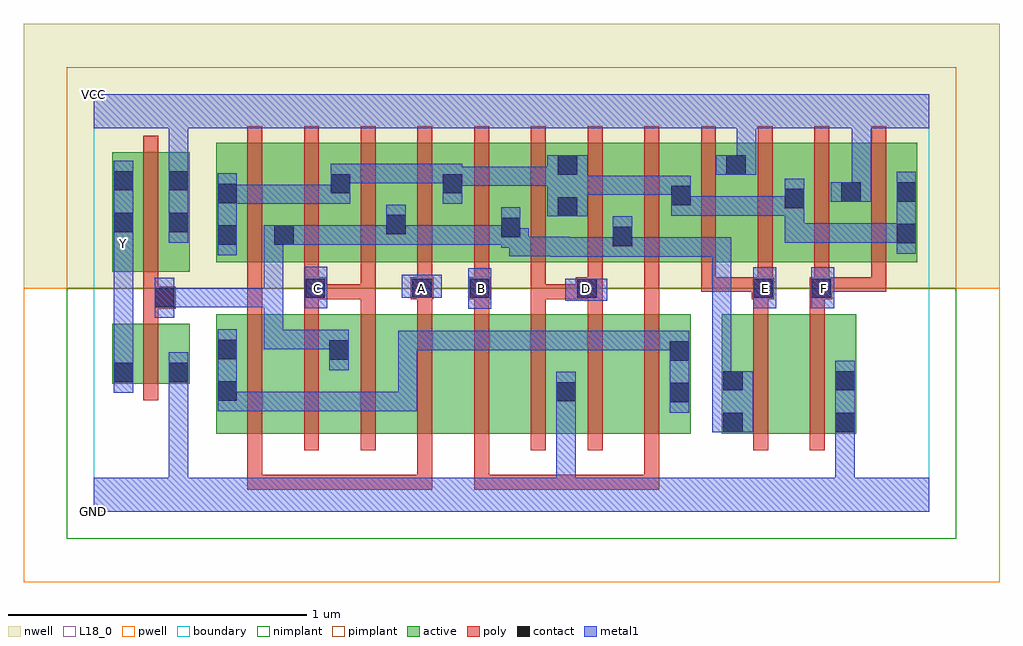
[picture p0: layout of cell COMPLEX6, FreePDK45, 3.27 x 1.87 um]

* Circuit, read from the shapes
.subckt COMPLEX6 A B C D E F GND VCC Y
M1 GND n1 Y VSUBS nfet w=0.2u l=0.05u
M2 n2 A n3 VSUBS nfet w=0.4u l=0.05u
M3 n1 C n2 VSUBS nfet w=0.4u l=0.05u
M4 n4 C n1 VSUBS nfet w=0.4u l=0.05u
M5 n5 A n4 VSUBS nfet w=0.4u l=0.05u
M6 n6 B n5 VSUBS nfet w=0.4u l=0.05u
M7 GND D n6 VSUBS nfet w=0.4u l=0.05u
M8 n7 D GND VSUBS nfet w=0.4u l=0.05u
M9 n3 B n7 VSUBS nfet w=0.4u l=0.05u
M10 n8 E n1 VSUBS nfet w=0.4u l=0.05u
M11 GND F n8 VSUBS nfet w=0.4u l=0.05u
M12 VCC n1 Y n9 pfet w=0.4u l=0.05u
M13 n1 A n10 n9 pfet w=0.4u l=0.05u m=2
M14 n10 C n1 n9 pfet w=0.4u l=0.05u m=2
M15 n1 B n10 n9 pfet w=0.4u l=0.05u m=2
M16 n10 D n1 n9 pfet w=0.4u l=0.05u m=2
M17 VCC E n10 n9 pfet w=0.4u l=0.05u m=2
M18 VCC F n10 n9 pfet w=0.4u l=0.05u m=2
.ends

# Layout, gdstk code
import gdstk
lib = gdstk.Library(unit=1e-6, precision=1e-09)
def R(c, l, rs):  # rectangles x0, y0, x1, y1
    for r in rs: c.add(gdstk.rectangle(r[:2], r[2:], *l))
def A(c, l, x, y, w, h, nx, ny, dx, dy):  # array of equal rectangles
    R(c, l, [(x+i*dx, y+j*dy, x+i*dx+w, y+j*dy+h) for i in range(nx) for j in range(ny)])
active = (1, 0)
pwell = (2, 0)
nwell = (3, 0)
nimplant = (4, 0)
pimplant = (5, 0)
poly = (9, 0)
contact = (10, 0)
metal1 = (11, 0)
L18_0 = (18, 0)
boundary = (235, 0)

complex6 = lib.new_cell('COMPLEX6')
A(complex6, active, 1.55, 0.907, 0.075, 0.293, 3, 1, 0.38, 0)
R(complex6, active, [(0.41,0.262,0.635,0.662), (0.635,0.262,0.86,0.662), (0.785,0.262,1.015,0.662), (1.015,0.262,1.205,0.662), (1.205,0.262,1.395,0.662), (1.395,0.262,1.62,0.662), (1.545,0.262,1.775,0.662), (1.775,0.262,2,0.662), (2.105,0.262,2.18,0.662), (2.105,0.262,2.33,0.662), (2.33,0.262,2.555,0.662), (2.48,0.262,2.555,0.662), (0.41,0.295,0.485,0.662), (0.785,0.295,0.86,0.617), (1.545,0.295,1.62,0.617), (1.925,0.295,2,0.662), (0.062,0.43,0.137,0.63), (0.062,0.43,0.322,0.63), (0.247,0.43,0.322,0.63), (0.062,0.805,0.322,1.205), (0.062,0.805,0.137,1.2), (0.247,0.805,0.322,1.205), (0.41,0.837,0.485,1.2), (0.41,0.837,0.675,1.237), (0.6,0.837,0.865,1.237), (0.6,0.837,0.675,1.07), (0.79,0.837,1.05,1.237), (0.975,0.837,1.24,1.237), (1.165,0.837,1.435,1.237), (1.36,0.837,1.625,1.237), (1.55,0.837,1.81,1.237), (1.735,0.837,2.005,1.237), (1.735,0.837,1.81,1.07), (1.93,0.837,2.19,1.237), (2.115,0.837,2.385,1.237), (2.31,0.837,2.575,1.237), (2.5,0.837,2.76,1.237), (2.685,0.837,2.76,1.2), (0.79,0.907,0.865,1.2), (0.975,0.907,1.05,1.07), (1.165,0.907,1.24,1.2), (1.36,0.907,1.435,1.07), (2.115,0.907,2.19,1.205), (2.5,0.907,2.575,1.237)])
R(complex6, pwell, [(-0.235,-0.235,3.035,0.75)])
R(complex6, nwell, [(-0.235,0.75,3.035,1.635)])
R(complex6, nimplant, [(-0.09,-0.09,2.89,0.75)])
R(complex6, pimplant, [(-0.09,0.75,2.89,1.49)])
A(complex6, poly, 0.515, 0.207, 0.05, 0.51, 8, 1, 0.19, 0)
A(complex6, poly, 0.515, 0.667, 0.05, 0.095, 8, 1, 0.19, 0)
A(complex6, poly, 1.275, 0.737, 0.05, 0.095, 3, 1, 0.38, 0)
A(complex6, poly, 2.225, 0.737, 0.05, 0.095, 3, 1, 0.19, 0)
A(complex6, poly, 0.515, 0.782, 0.05, 0.51, 12, 1, 0.19, 0)
R(complex6, poly, [(0.515,0.075,0.565,0.125), (0.515,0.075,0.565,0.125), (0.515,0.075,0.565,0.125), (0.515,0.075,0.565,0.257), (0.515,0.075,0.78,0.125), (0.73,0.075,0.78,0.125), (0.73,0.075,0.78,0.125), (0.73,0.075,0.78,0.125), (0.73,0.075,0.912,0.125), (0.862,0.075,0.912,0.125), (0.862,0.075,1.135,0.125), (1.085,0.075,1.135,0.125), (1.085,0.075,1.135,0.125), (1.085,0.075,1.135,0.125), (1.085,0.075,1.135,0.257), (1.275,0.075,1.325,0.125), (1.275,0.075,1.325,0.125), (1.275,0.075,1.325,0.125), (1.275,0.075,1.325,0.257), (1.275,0.075,1.532,0.125), (1.482,0.075,1.532,0.125), (1.482,0.075,1.532,0.125), (1.482,0.075,1.532,0.125), (1.482,0.075,1.762,0.125), (1.712,0.075,1.762,0.125), (1.712,0.075,1.762,0.125), (1.712,0.075,1.762,0.125), (1.712,0.075,1.895,0.125), (1.845,0.075,1.895,0.125), (1.845,0.075,1.895,0.257), (2.21,0.207,2.26,0.717), (2.4,0.207,2.45,0.717), (0.167,0.375,0.217,0.685), (0.167,0.635,0.217,0.73), (2.21,0.667,2.26,0.762), (2.4,0.667,2.45,0.762), (0.167,0.68,0.275,0.755), (0.167,0.705,0.217,0.8), (0.515,0.712,0.565,0.762), (0.515,0.712,0.565,0.832), (0.705,0.712,0.78,0.787), (0.73,0.712,0.78,0.762), (0.73,0.712,0.78,0.762), (0.73,0.712,0.945,0.762), (0.895,0.712,0.945,0.762), (0.895,0.712,0.945,0.832), (1.062,0.712,1.137,0.787), (1.255,0.712,1.33,0.787), (1.465,0.712,1.515,0.762), (1.465,0.712,1.515,0.762), (1.465,0.712,1.515,0.762), (1.465,0.712,1.515,0.832), (1.465,0.712,1.665,0.762), (1.615,0.712,1.705,0.787), (1.845,0.712,1.895,0.762), (1.845,0.712,1.895,0.832), (2.205,0.712,2.28,0.787), (2.4,0.712,2.475,0.787), (0.705,0.737,0.755,0.832), (1.085,0.737,1.135,0.832), (2.035,0.737,2.085,0.787), (2.035,0.737,2.255,0.787), (2.205,0.737,2.255,0.787), (2.205,0.737,2.255,0.787), (2.425,0.737,2.655,0.787), (2.605,0.737,2.655,0.787), (2.605,0.737,2.655,0.787), (2.605,0.737,2.655,0.787), (0.167,0.75,0.217,1.26)])
R(complex6, contact, [(2.11,0.267,2.175,0.332), (2.485,0.267,2.55,0.332), (1.93,0.367,1.995,0.432), (1.55,0.37,1.615,0.435), (0.415,0.372,0.48,0.437), (2.11,0.407,2.175,0.472), (2.485,0.407,2.55,0.472), (0.067,0.435,0.132,0.5), (0.252,0.435,0.317,0.5), (1.93,0.507,1.995,0.572), (0.79,0.51,0.855,0.575), (0.415,0.512,0.48,0.577), (0.205,0.685,0.27,0.75), (0.71,0.717,0.775,0.782), (1.067,0.717,1.132,0.782), (1.26,0.717,1.325,0.782), (1.62,0.717,1.685,0.782), (2.21,0.717,2.275,0.782), (2.405,0.717,2.47,0.782), (1.74,0.89,1.805,0.955), (0.415,0.895,0.48,0.96), (0.605,0.895,0.67,0.96), (2.69,0.9,2.755,0.965), (1.365,0.92,1.43,0.985), (0.98,0.93,1.045,0.995), (0.067,0.937,0.132,1.002), (0.252,0.937,0.317,1.002), (1.555,0.99,1.62,1.055), (2.315,1.017,2.38,1.082), (1.935,1.027,2,1.092), (0.415,1.035,0.48,1.1), (2.505,1.04,2.57,1.105), (2.69,1.04,2.755,1.105), (0.795,1.067,0.86,1.132), (1.17,1.067,1.235,1.132), (0.067,1.077,0.132,1.142), (0.252,1.077,0.317,1.142), (1.555,1.13,1.62,1.195), (2.12,1.13,2.185,1.195)])
R(complex6, metal1, [(0,0,2.8,0.115), (0.252,0.05,0.317,0.115), (0.252,0.05,0.317,0.115), (0.252,0.05,0.317,0.115), (0.252,0.05,0.317,0.115), (0.252,0.05,0.317,0.465), (1.55,0.05,1.615,0.115), (1.55,0.05,1.615,0.115), (1.55,0.05,1.615,0.4), (2.485,0.05,2.55,0.115), (2.485,0.05,2.55,0.115), (2.485,0.05,2.55,0.297), (2.485,0.232,2.55,0.507), (2.072,0.267,2.21,0.472), (1.93,0.332,1.995,0.607), (1.55,0.335,1.615,0.47), (0.415,0.337,0.48,0.402), (0.415,0.337,0.48,0.402), (0.415,0.337,0.48,0.612), (0.415,0.337,0.635,0.402), (0.57,0.337,0.635,0.402), (0.57,0.337,0.635,0.402), (0.57,0.337,0.635,0.402), (0.57,0.337,0.842,0.402), (0.777,0.337,0.842,0.402), (0.777,0.337,0.842,0.402), (0.777,0.337,0.842,0.402), (0.777,0.337,1.085,0.402), (1.02,0.337,1.085,0.402), (1.02,0.337,1.085,0.607), (0.067,0.4,0.132,0.535), (0.252,0.4,0.317,0.465), (0.252,0.4,0.317,0.465), (0.252,0.4,0.317,0.535), (2.072,0.407,2.137,0.92), (0.067,0.47,0.132,0.897), (0.79,0.475,0.855,0.61), (1.02,0.542,1.085,0.607), (1.02,0.542,1.085,0.607), (1.02,0.542,1.085,0.607), (1.02,0.542,1.292,0.607), (1.227,0.542,1.292,0.607), (1.227,0.542,1.292,0.607), (1.227,0.542,1.292,0.607), (1.227,0.542,1.43,0.607), (1.365,0.542,1.43,0.607), (1.365,0.542,1.43,0.607), (1.365,0.542,1.43,0.607), (1.365,0.542,1.595,0.607), (1.53,0.542,1.595,0.607), (1.53,0.542,1.595,0.607), (1.53,0.542,1.595,0.607), (1.53,0.542,1.792,0.607), (1.727,0.542,1.792,0.607), (1.727,0.542,1.792,0.607), (1.727,0.542,1.792,0.607), (1.727,0.542,1.995,0.607), (0.57,0.545,0.635,0.61), (0.57,0.545,0.635,0.61), (0.57,0.545,0.635,0.61), (0.57,0.545,0.855,0.61), (0.57,0.545,0.635,0.75), (0.205,0.65,0.27,0.785), (1.255,0.68,1.332,0.817), (0.707,0.682,0.782,0.822), (2.21,0.682,2.287,0.82), (2.405,0.682,2.482,0.82), (0.205,0.685,0.27,0.75), (0.205,0.685,0.27,0.75), (0.205,0.685,0.455,0.75), (0.39,0.685,0.455,0.75), (0.39,0.685,0.455,0.75), (0.39,0.685,0.455,0.75), (0.39,0.685,0.635,0.75), (0.57,0.685,0.635,0.75), (0.57,0.685,0.635,0.96), (1.58,0.707,1.72,0.782), (1.032,0.717,1.167,0.795), (0.067,0.832,0.132,0.967), (1.53,0.855,1.595,0.92), (1.53,0.855,1.595,0.92), (1.53,0.855,1.805,0.92), (1.53,0.855,1.595,0.922), (1.74,0.855,1.805,0.92), (1.74,0.855,1.805,0.92), (1.74,0.855,1.805,0.99), (1.74,0.855,2,0.92), (1.935,0.855,2,0.92), (1.935,0.855,2,0.92), (1.935,0.855,2,0.92), (1.935,0.855,2.137,0.92), (2.072,0.855,2.137,0.92), (2.072,0.855,2.137,0.92), (2.072,0.855,2.137,0.92), (1.392,0.857,1.595,0.922), (1.392,0.857,1.457,0.95), (0.415,0.86,0.48,1.135), (2.69,0.865,2.755,1.14), (1.365,0.885,1.43,1.02), (1.365,0.885,1.457,0.95), (0.57,0.895,0.705,0.96), (0.64,0.895,0.705,0.96), (0.64,0.895,0.705,0.96), (0.64,0.895,0.842,0.96), (0.777,0.895,0.842,0.96), (0.777,0.895,0.842,0.96), (0.777,0.895,0.842,0.96), (0.777,0.895,1.045,0.96), (0.98,0.895,1.045,0.96), (0.98,0.895,1.045,0.96), (0.98,0.895,1.045,1.03), (0.98,0.895,1.222,0.96), (1.157,0.895,1.222,0.96), (1.157,0.895,1.222,0.96), (1.157,0.895,1.222,0.96), (1.157,0.895,1.43,0.96), (0.067,0.902,0.132,0.967), (0.067,0.902,0.132,1.177), (0.252,0.902,0.317,1.177), (2.315,0.902,2.38,0.967), (2.315,0.902,2.38,0.967), (2.315,0.902,2.38,0.967), (2.315,0.902,2.517,0.967), (2.315,0.902,2.38,1.047), (2.452,0.902,2.517,0.967), (2.452,0.902,2.755,0.967), (2.69,0.902,2.755,0.967), (2.69,0.902,2.755,0.967), (2.315,0.982,2.38,1.117), (1.52,0.99,1.655,1.195), (1.935,0.992,2,1.057), (1.935,0.992,2,1.057), (1.935,0.992,2,1.127), (1.935,0.992,2.242,1.057), (2.177,0.992,2.242,1.057), (2.177,0.992,2.242,1.057), (2.177,0.992,2.242,1.057), (2.177,0.992,2.38,1.057), (0.415,1.032,0.48,1.097), (0.415,1.032,0.48,1.097), (0.415,1.032,0.617,1.097), (0.552,1.032,0.617,1.097), (0.552,1.032,0.617,1.097), (0.552,1.032,0.617,1.097), (0.552,1.032,0.86,1.097), (0.795,1.032,0.86,1.167), (1.17,1.032,1.235,1.167), (2.47,1.04,2.605,1.105), (2.54,1.04,2.605,1.35), (1.59,1.062,1.655,1.127), (1.59,1.062,1.655,1.127), (1.59,1.062,1.857,1.127), (1.792,1.062,1.857,1.127), (1.792,1.062,1.857,1.127), (1.792,1.062,1.857,1.127), (1.792,1.062,2,1.127), (1.17,1.092,1.235,1.157), (1.17,1.092,1.235,1.157), (1.17,1.092,1.43,1.157), (1.365,1.092,1.43,1.157), (1.365,1.092,1.43,1.157), (1.365,1.092,1.43,1.157), (1.365,1.092,1.585,1.157), (0.795,1.102,0.86,1.167), (0.795,1.102,0.86,1.167), (0.795,1.102,1.085,1.167), (1.02,1.102,1.085,1.167), (1.02,1.102,1.085,1.167), (1.02,1.102,1.085,1.167), (1.02,1.102,1.235,1.167), (0.252,1.112,0.317,1.35), (2.085,1.13,2.22,1.195), (2.155,1.13,2.22,1.35), (0,1.285,2.8,1.4)])
R(complex6, L18_0, [(0,0,2.8,0.115), (0.252,0.05,0.317,0.115), (0.252,0.05,0.317,0.115), (0.252,0.05,0.317,0.115), (0.252,0.05,0.317,0.115), (0.252,0.05,0.317,0.465), (1.55,0.05,1.615,0.115), (1.55,0.05,1.615,0.115), (1.55,0.05,1.615,0.4), (2.485,0.05,2.55,0.115), (2.485,0.05,2.55,0.115), (2.485,0.05,2.55,0.297), (2.485,0.232,2.55,0.507), (1.55,0.335,1.615,0.47), (0.067,0.4,0.132,0.535), (0.252,0.4,0.317,0.535), (0.252,0.4,0.317,0.465), (0.252,0.4,0.317,0.465), (0.067,0.47,0.132,0.897), (1.255,0.68,1.332,0.817), (0.707,0.682,0.782,0.822), (2.21,0.682,2.287,0.82), (2.405,0.682,2.482,0.82), (1.58,0.707,1.72,0.782), (0.717,0.717,0.782,0.782), (1.032,0.717,1.167,0.795), (1.067,0.717,1.132,0.782), (1.267,0.717,1.332,0.782), (1.617,0.717,1.682,0.782), (2.217,0.717,2.282,0.782), (2.417,0.717,2.482,0.782), (0.067,0.832,0.132,0.967), (0.067,0.867,0.132,0.932), (0.067,0.902,0.132,1.177), (0.067,0.902,0.132,0.967), (0.252,0.902,0.317,1.177), (2.47,1.04,2.605,1.105), (2.54,1.04,2.605,1.35), (0.252,1.112,0.317,1.35), (2.085,1.13,2.22,1.195), (2.155,1.13,2.22,1.35), (0,1.285,2.8,1.4)])
R(complex6, boundary, [(0,0,2.8,1.4)])
complex6.add(gdstk.Label('A', (1.1,0.75), layer=11, texttype=0))
complex6.add(gdstk.Label('B', (1.3,0.75), layer=11, texttype=0))
complex6.add(gdstk.Label('C', (0.75,0.75), layer=11, texttype=0))
complex6.add(gdstk.Label('D', (1.65,0.75), layer=11, texttype=0))
complex6.add(gdstk.Label('E', (2.25,0.75), layer=11, texttype=0))
complex6.add(gdstk.Label('F', (2.45,0.75), layer=11, texttype=0))
complex6.add(gdstk.Label('Y', (0.1,0.9), layer=11, texttype=0))
complex6.add(gdstk.Label('VCC', (0,1.4), layer=11, texttype=0))
complex6.add(gdstk.Label('GND', (0,0), layer=11, texttype=0))

lib.write_gds('COMPLEX6.gds')
